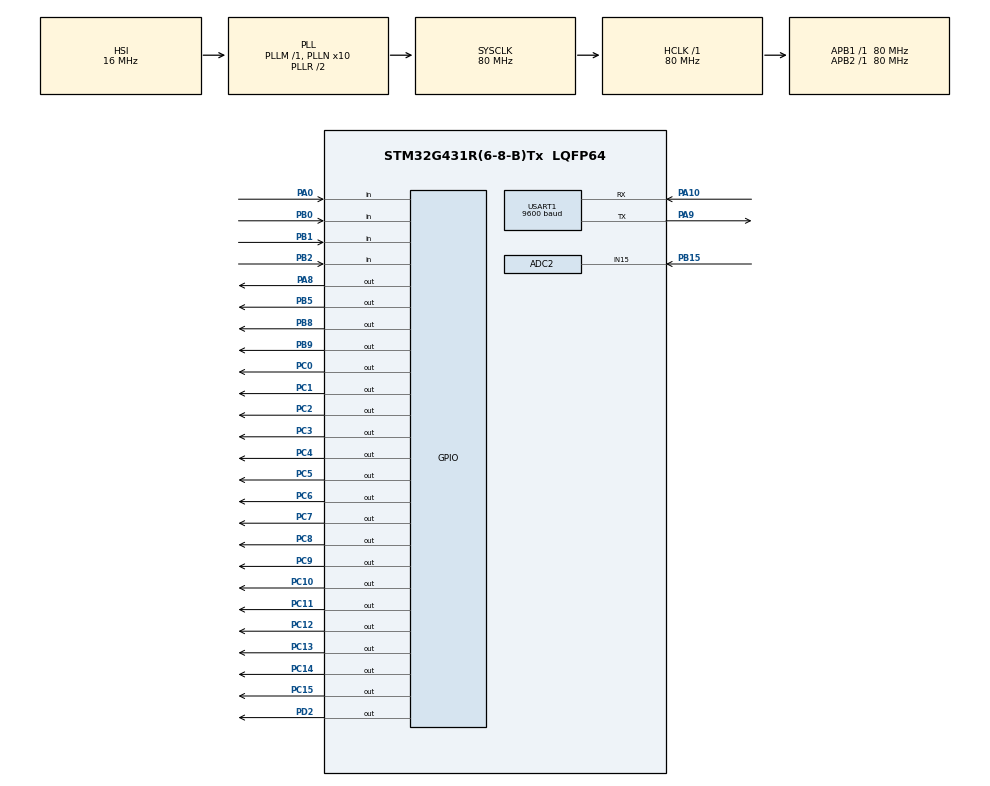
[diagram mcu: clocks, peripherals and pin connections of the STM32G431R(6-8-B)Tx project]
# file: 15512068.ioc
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ADC2.Channel-0\#ChannelRegularConversion=ADC_CHANNEL_15
ADC2.NbrOfConversionFlag=1
ADC2.OffsetNumber-0\#ChannelRegularConversion=ADC_OFFSET_NONE
ADC2.Rank-0\#ChannelRegularConversion=1
ADC2.SamplingTime-0\#ChannelRegularConversion=ADC_SAMPLETIME_2CYCLES_5
Mcu.Family=STM32G4
Mcu.Name=STM32G431R(6-8-B)Tx
Mcu.Package=LQFP64
NVIC.PriorityGroup=NVIC_PRIORITYGROUP_4
NVIC.TIM1_UP_TIM16_IRQn=true\:0\:0\:false\:false\:true\:true\:true\:true
NVIC.USART1_IRQn=true\:0\:0\:false\:false\:true\:true\:true\:true
PA0.Signal=GPIO_Input
PA10.Mode=Asynchronous
PA10.Signal=USART1_RX
PA13.Mode=Serial_Wire
PA13.Signal=SYS_JTMS-SWDIO
PA14.Mode=Serial_Wire
PA14.Signal=SYS_JTCK-SWCLK
PA8.Signal=GPIO_Output
PA9.Mode=Asynchronous
PA9.Signal=USART1_TX
PB0.Signal=GPIO_Input
PB1.Signal=GPIO_Input
PB15.Mode=IN15-Single-Ended
PB15.Signal=ADC2_IN15
PB2.Signal=GPIO_Input
PB5.Signal=GPIO_Output
PB8-BOOT0.Signal=GPIO_Output
PB9.Signal=GPIO_Output
PC0.Signal=GPIO_Output
PC1.Signal=GPIO_Output
PC10.Signal=GPIO_Output
PC11.Signal=GPIO_Output
PC12.Signal=GPIO_Output
PC13.Signal=GPIO_Output
PC14-OSC32_IN.Signal=GPIO_Output
PC15-OSC32_OUT.Signal=GPIO_Output
PC2.Signal=GPIO_Output
PC3.Signal=GPIO_Output
PC4.Signal=GPIO_Output
PC5.Signal=GPIO_Output
PC6.Signal=GPIO_Output
PC7.Signal=GPIO_Output
PC8.Signal=GPIO_Output
PC9.Signal=GPIO_Output
PD2.Signal=GPIO_Output
PF0-OSC_IN.Mode=HSE-External-Oscillator
PF0-OSC_IN.Signal=RCC_OSC_IN
PF1-OSC_OUT.Mode=HSE-External-Oscillator
PF1-OSC_OUT.Signal=RCC_OSC_OUT
ProjectManager.HeapSize=0x200
ProjectManager.StackSize=0x400
ProjectManager.TargetToolchain=MDK-ARM V5.32
RCC.ADC12Freq_Value=80000000
RCC.AHBFreq_Value=80000000
RCC.APB1Freq_Value=80000000
RCC.APB1TimFreq_Value=80000000
RCC.APB2Freq_Value=80000000
RCC.APB2TimFreq_Value=80000000
RCC.CortexFreq_Value=80000000
RCC.EXTERNAL_CLOCK_VALUE=12288000
RCC.HCLKFreq_Value=80000000
RCC.HSE_VALUE=8000000
RCC.HSI48_VALUE=48000000
RCC.HSI_VALUE=16000000
RCC.LSE_VALUE=32768
RCC.PLLN=10
RCC.SYSCLKFreq_VALUE=80000000
RCC.SYSCLKSource=RCC_SYSCLKSOURCE_PLLCLK
RCC.USBFreq_Value=80000000
RCC.VCOOutputFreq_Value=160000000
TIM1.AutoReloadPreload=TIM_AUTORELOAD_PRELOAD_ENABLE
TIM1.PeriodNoDither=10000-1
TIM1.Prescaler=80-1
USART1.BaudRate=9600
USART1.VirtualMode-Asynchronous=VM_ASYNC
VP_SYS_VS_DBSignals.Mode=DisableDeadBatterySignals
VP_TIM1_VS_ClockSourceINT.Mode=Internal
board=custom

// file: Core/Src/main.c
/* USER CODE BEGIN Header */
/**
  ******************************************************************************
  * @file           : main.c
  * @brief          : Main program body
  ******************************************************************************
  * @attention
  *
  * Copyright (c) 2024 STMicroelectronics.
  * All rights reserved.
  *
  * This software is licensed under terms that can be found in the LICENSE file
  * in the root directory of this software component.
  * If no LICENSE file comes with this software, it is provided AS-IS.
  *
  ******************************************************************************
  */
/* USER CODE END Header */
#include "main.h"
#include "adc.h"
#include "tim.h"
#include "usart.h"
#include "gpio.h"

/* USER CODE BEGIN Includes */
#include "stdio.h"
#include "string.h"
#include "stdlib.h"
#include "lcd.h"
#include "interrupt.h"
/* USER CODE END Includes */

/* USER CODE BEGIN PTD */
extern unsigned char  rx[20];
extern unsigned char RX_Buff;
extern int idx;
extern struct Some_State LED;

/* USER CODE END PTD */

void SystemClock_Config(void);

/* USER CODE BEGIN 0 */
float V_value[2]={3.0,1.0};
float V_value_old[2]={0,0};
int screen=1;
int led;

int led_2=1;
int led_value=0;
void Key()
{
	if(get_key_stat(0))
	{
		screen++;
		screen%=2;
		if(V_value[0]>=V_value[1]+0.99)
		{
			V_value_old[0]=V_value[0];
			V_value_old[1]=V_value[1];
			led&=0xfd;
		}
		else
		{
			V_value[0]=V_value_old[0];
			V_value[1]=V_value_old[1];
			led|=0x02;
		}
		if(led_2)
		{
			led&=0xfd;
		}
		else
		{
			led|=0x02;
		}
	}
	if(!screen)
	{
		if(get_key_stat(1))
		{
			if(V_value[0]>=3.25)
			{
				V_value[0]=0.0;
			}
			else
			{
				V_value[0]+=0.1;
			}
		}
		else if(get_key_stat(2))
		{
			if(V_value[1]>=3.25)
			{
				V_value[1]=0.0;
			}
			else
			{
				V_value[1]+=0.1;
			}
		}
		if(V_value[0]>=V_value[1]+0.99)
		{
			led_2=1;
		}
		else
		{
			led_2=0;
		}
	}
	set_key_stat(0,0);
	set_key_stat(1,0);
	set_key_stat(2,0);
}
void adc_tim()
{
	float adc_value=getADC(&hadc2);
	if(adc_value>=V_value[1] && adc_value<=V_value[0])
	{
		LED.sta=1;
		led|=0x01;
	}
	else
	{
		led&=0xfe;
		LED.sta=0;
		LED.tim=0;
		LED.sta_re=0;
	}
	LED_Disp(led);
}
void Usb()
{
	if(idx)
	{
		HAL_Delay(20);
		if(idx==9)
		{
			V_value_old[0]=V_value[0];
			V_value_old[1]=V_value[1];
			sscanf((char *)rx,"\"%f,%f\"",&V_value[0],&V_value[1]);
			if((V_value[0]>=V_value[1]+0.99) && (rx[0]=='"')&&(rx[8]=='"'))
			{
				led&=0xf7;
			}
			else
			{
				V_value[0]=V_value_old[0];
				V_value[1]=V_value_old[1];
				led|=0x08;
			}

		}
		else
		{
			led|=0x08;
		}
		idx=0;
		memset(rx,0,strlen(rx));
	}
}
void Data()
{
	//int a=0;
	unsigned char str[20];
	float adc_value=getADC(&hadc2);
	LCD_DisplayStringLine(Line0,(u8 *)"      Data  ");
	sprintf((char *)str," V:%.2fV    ",adc_value);
	LCD_DisplayStringLine(Line2,str);
	sprintf((char *)str," T:%ds      ",LED.sta_re);
	LCD_DisplayStringLine(Line3,str);
}

void Para()
{
	unsigned char str[20];
	LCD_DisplayStringLine(Line0,(u8 *)"      Para  ");
	sprintf((char *)str," Vmax:%.1f   ",V_value[0]);
	LCD_DisplayStringLine(Line2,str);
	sprintf((char *)str," Vmin:%.1f   ",V_value[1]);
	LCD_DisplayStringLine(Line3,str);

}
/* USER CODE END 0 */

int main(void)
{

  /* MCU Configuration--------------------------------------------------------*/

  /* Reset of all peripherals, Initializes the Flash interface and the Systick. */
  HAL_Init();

  /* Configure the system clock */
  SystemClock_Config();

  /* Initialize all configured peripherals */
  MX_GPIO_Init();
  MX_TIM1_Init();
  MX_ADC2_Init();
  MX_USART1_UART_Init();
  /* USER CODE BEGIN 2 */
	LED_Disp(0x00);
	LCD_Init();
	LCD_Clear(Black);
	LCD_SetTextColor(White);
	LCD_SetBackColor(Black);

	HAL_UART_Receive_IT(&huart1,&RX_Buff,1);

	HAL_ADCEx_Calibration_Start(&hadc2,ADC_SINGLE_ENDED);

	HAL_TIM_Base_Start_IT(&htim1);
	//HAL_TIM_IC_Start_IT(&htim1,TIM_CHANNEL_1);
	//HAL_TIM_PWM_Start(&htim1,TIM_CHANNEL_1);
  /* USER CODE END 2 */

  /* Infinite loop */
  while (1)
  {

    /* USER CODE BEGIN 3 */
	  Usb();
	  adc_tim();
	  Key();
	  if(screen){Data();}
	  else		{Para();}
  }
  /* USER CODE END 3 */
}

void SystemClock_Config(void)
{
  RCC_OscInitTypeDef RCC_OscInitStruct = {0};
  RCC_ClkInitTypeDef RCC_ClkInitStruct = {0};

  /** Configure the main internal regulator output voltage
  */
  HAL_PWREx_ControlVoltageScaling(PWR_REGULATOR_VOLTAGE_SCALE1);

  /** Initializes the RCC Oscillators according to the specified parameters
  * in the RCC_OscInitTypeDef structure.
  */
  RCC_OscInitStruct.OscillatorType = RCC_OSCILLATORTYPE_HSI;
  RCC_OscInitStruct.HSIState = RCC_HSI_ON;
  RCC_OscInitStruct.HSICalibrationValue = RCC_HSICALIBRATION_DEFAULT;
  RCC_OscInitStruct.PLL.PLLState = RCC_PLL_ON;
  RCC_OscInitStruct.PLL.PLLSource = RCC_PLLSOURCE_HSI;
  RCC_OscInitStruct.PLL.PLLM = RCC_PLLM_DIV1;
  RCC_OscInitStruct.PLL.PLLN = 10;
  RCC_OscInitStruct.PLL.PLLP = RCC_PLLP_DIV2;
  RCC_OscInitStruct.PLL.PLLQ = RCC_PLLQ_DIV2;
  RCC_OscInitStruct.PLL.PLLR = RCC_PLLR_DIV2;
  if (HAL_RCC_OscConfig(&RCC_OscInitStruct) != HAL_OK)
  {
    Error_Handler();
  }

  /** Initializes the CPU, AHB and APB buses clocks
  */
  RCC_ClkInitStruct.ClockType = RCC_CLOCKTYPE_HCLK|RCC_CLOCKTYPE_SYSCLK
                              |RCC_CLOCKTYPE_PCLK1|RCC_CLOCKTYPE_PCLK2;
  RCC_ClkInitStruct.SYSCLKSource = RCC_SYSCLKSOURCE_PLLCLK;
  RCC_ClkInitStruct.AHBCLKDivider = RCC_SYSCLK_DIV1;
  RCC_ClkInitStruct.APB1CLKDivider = RCC_HCLK_DIV1;
  RCC_ClkInitStruct.APB2CLKDivider = RCC_HCLK_DIV1;

  if (HAL_RCC_ClockConfig(&RCC_ClkInitStruct, FLASH_LATENCY_2) != HAL_OK)
  {
    Error_Handler();
  }
}

void Error_Handler(void)
{
  __disable_irq();
  while (1)
  {
  }
}
